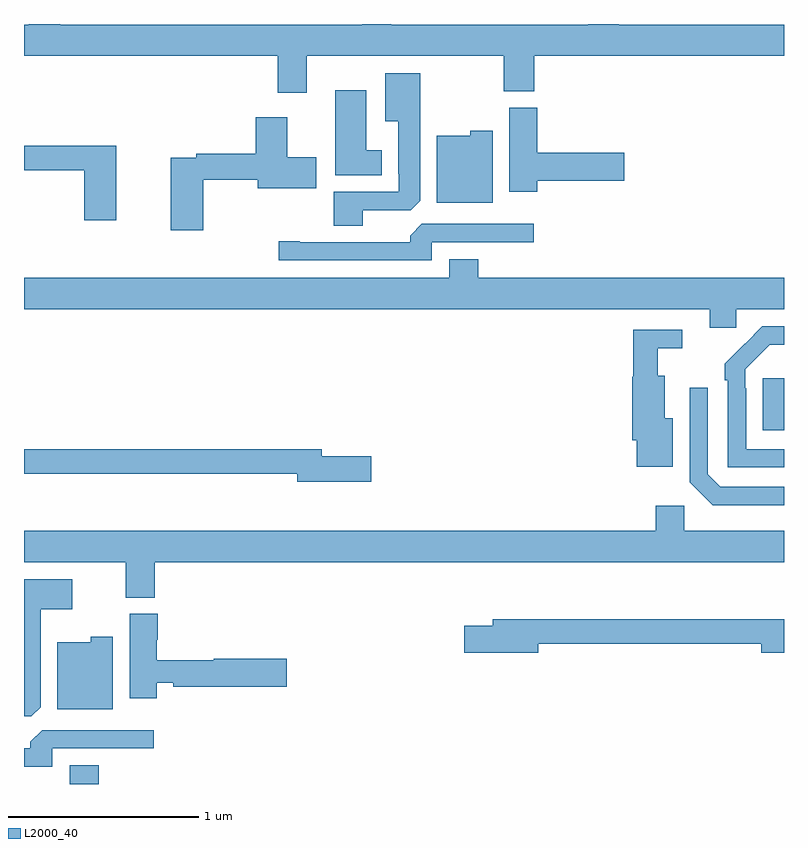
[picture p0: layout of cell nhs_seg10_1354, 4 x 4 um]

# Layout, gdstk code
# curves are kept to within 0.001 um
import gdstk
lib = gdstk.Library(unit=1e-6, precision=1e-09)
def R(c, l, rs):  # rectangles x0, y0, x1, y1
    for r in rs: c.add(gdstk.rectangle(r[:2], r[2:], *l))
def P(c, l, *ps):  # polygons
    for p in ps: c.add(gdstk.Polygon(p, *l))
L2000_40 = (2000, 40)

nhs_seg10_1354 = lib.new_cell('nhs_seg10_1354')
R(nhs_seg10_1354, L2000_40, [(181.241,1280.5,181.394,1280.599), (184.889,1282.361,185,1282.636)])
P(nhs_seg10_1354, L2000_40, [(182.488,1284.332),(183.526,1284.332),(183.526,1284.145),(183.686,1284.145),(183.686,1284.332),(185,1284.332),(185,1284.496),(184.13,1284.496),(184.13,1284.5),(183.97,1284.5),(183.97,1284.496),(182.932,1284.496),(182.932,1284.5),(182.78,1284.5),(182.78,1284.496),(181.19,1284.496),(181.19,1284.5),(181.025,1284.5),(181.025,1284.496),(181,1284.496),(181,1284.332),(182.336,1284.332),(182.336,1284.138),(182.488,1284.138)],
  [(182.782,1283.52),(183.036,1283.52),(183.085,1283.569),(183.085,1284.241),(182.9,1284.241),(182.9,1283.987),(182.969,1283.987),(182.969,1283.713),(182.973,1283.713),(182.973,1283.616),(182.63,1283.616),(182.63,1283.437),(182.782,1283.437)],
  [(182.884,1283.836),(182.8,1283.836),(182.8,1284.151),(182.639,1284.151),(182.639,1283.705),(182.884,1283.705)],
  [(183.701,1283.675),(184.159,1283.675),(184.159,1283.822),(183.701,1283.822),(183.701,1284.06),(183.554,1284.06),(183.554,1283.616),(183.701,1283.616)],
  [(181.943,1283.68),(182.231,1283.68),(182.231,1283.636),(182.539,1283.636),(182.539,1283.799),(182.386,1283.799),(182.386,1284.01),(182.219,1284.01),(182.219,1283.816),(181.906,1283.816),(181.906,1283.796),(181.772,1283.796),(181.772,1283.415),(181.943,1283.415)],
  [(183.466,1283.938),(183.348,1283.938),(183.348,1283.911),(183.173,1283.911),(183.173,1283.558),(183.466,1283.558)],
  [(181.486,1283.86),(181,1283.86),(181,1283.731),(181.316,1283.731),(181.316,1283.466),(181.486,1283.466)],
  [(183.147,1283.352),(183.682,1283.352),(183.682,1283.448),(183.093,1283.448),(183.032,1283.386),(183.032,1283.352),(182.452,1283.352),(182.452,1283.357),(182.34,1283.357),(182.34,1283.256),(183.147,1283.256)],
  [(184.749,1283),(185,1283),(185,1283.164),(183.392,1283.164),(183.392,1283.263),(183.239,1283.263),(183.239,1283.164),(181,1283.164),(181,1283),(184.61,1283),(184.61,1282.902),(184.749,1282.902)],
  [(185,1282.263),(184.8,1282.263),(184.8,1282.583),(184.797,1282.583),(184.797,1282.683),(184.926,1282.812),(185,1282.812),(185,1282.908),(184.886,1282.908),(184.689,1282.713),(184.689,1282.625),(184.704,1282.625),(184.704,1282.167),(185,1282.167)],
  [(184.414,1282.426),(184.372,1282.426),(184.372,1282.648),(184.336,1282.648),(184.336,1282.793),(184.465,1282.793),(184.465,1282.89),(184.207,1282.89),(184.207,1282.644),(184.202,1282.644),(184.202,1282.308),(184.226,1282.308),(184.226,1282.169),(184.414,1282.169)],
  [(185,1282.065),(184.665,1282.065),(184.599,1282.131),(184.599,1282.585),(184.503,1282.585),(184.503,1282.089),(184.624,1281.968),(185,1281.968)],
  [(182.827,1282.226),(182.566,1282.226),(182.566,1282.262),(181,1282.262),(181,1282.134),(182.438,1282.134),(182.438,1282.091),(182.827,1282.091)],
  [(181.688,1281.668),(185,1281.668),(185,1281.832),(184.476,1281.832),(184.476,1281.964),(184.325,1281.964),(184.325,1281.832),(181,1281.832),(181,1281.668),(181.535,1281.668),(181.535,1281.481),(181.688,1281.481)],
  [(181.087,1280.905),(181.087,1281.419),(181.255,1281.419),(181.255,1281.577),(181,1281.577),(181,1280.856),(181.038,1280.856)],
  [(181.698,1281.034),(181.786,1281.034),(181.786,1281.011),(182.383,1281.011),(182.383,1281.158),(181.998,1281.158),(181.998,1281.152),(181.698,1281.152),(181.698,1281.26),(181.703,1281.26),(181.703,1281.396),(181.556,1281.396),(181.556,1280.952),(181.698,1280.952)],
  [(183.706,1281.238),(184.88,1281.238),(184.88,1281.191),(185,1281.191),(185,1281.367),(183.467,1281.367),(183.467,1281.333),(183.318,1281.333),(183.318,1281.191),(183.706,1281.191)],
  [(181.468,1281.274),(181.35,1281.274),(181.35,1281.247),(181.175,1281.247),(181.175,1280.894),(181.468,1280.894)],
  [(181.149,1280.688),(181.684,1280.688),(181.684,1280.784),(181.095,1280.784),(181.034,1280.722),(181.034,1280.688),(181,1280.688),(181,1280.592),(181.149,1280.592)])

lib.write_gds('nhs_seg10_1354.gds')
